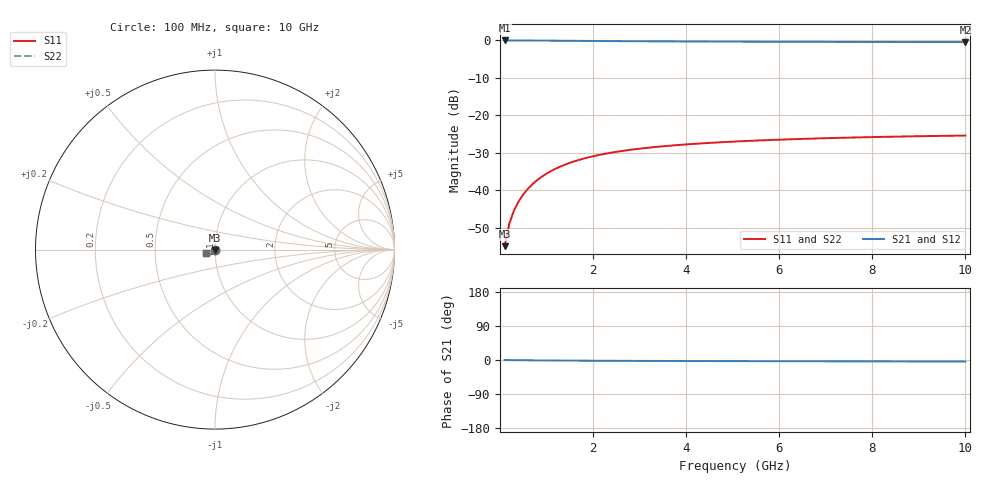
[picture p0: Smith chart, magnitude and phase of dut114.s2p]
! Touchstone file exported from HFSS 2024.1.0
!  File:  C:/UserFiles/LocalFiles/RDL_TSV_Batchsim/temp_TSV1_114_1778752732.aedt
!  Generated:  06:02:56 PM May 14, 2026
!  Design:  TSV1
!  Project:  temp_TSV1_114_1778752732
!  Setup:  Setup1
!  Solution:  Sweep
! Variables:
!  dtsv = 19.65um
!  hbump = 3um
!  htsv = 54.82um
!  lrdl = 252.1521522um
!  p = 40
!  p1 = 57.99um
!  t = 500um
!  trdl = 3um
!  wrdl = 24.89489489um
# GHz S MA R 50.000000
! Terminal data exported
! Port[1] = TSV22_T1
! Port[2] = TSV22_T2
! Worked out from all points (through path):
!   100 points, 100 MHz to 10 GHz, reference 50 ohm
!   highest |S21| = 0.00 dB at 100 MHz (marker M1); lowest = -0.4 dB at 10 GHz (marker M2)
!   lowest |S11| = -55.0 dB at 100 MHz (marker M3), VSWR 1.00, Z = 50 - j0.178 ohm
!   |S11| at or under -10 dB: start of sweep to end of sweep
!   |S22| runs from -55.0 to -25.4 dB; largest |S21 - S12| = 3.8e-15
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0.1  0.001781 -90.1  0.9999 -0.1  0.9999 -0.1  0.001781 -90.1
! Gamma 0 0 0 0
! Port Impedance 50 0 50 0
0.2  0.003552 -93.2  0.9997 -0.3  0.9997 -0.3  0.003552 -93.2
0.3  0.005307 -95.5  0.9993 -0.4  0.9993 -0.4  0.005307 -95.5
0.4  0.007038 -97.7  0.9989 -0.5  0.9989 -0.5  0.007038 -97.7
0.5  0.008739 -99.8  0.9983 -0.7  0.9983 -0.7  0.008739 -99.8
0.6  0.0104 -101.8  0.9976 -0.8  0.9976 -0.8  0.0104 -101.8
0.7  0.01202 -103.8  0.9969 -0.9  0.9969 -0.9  0.01202 -103.8
0.8  0.0136 -105.7  0.996 -1.0  0.996 -1.0  0.0136 -105.7
0.9  0.01512 -107.5  0.9951 -1.1  0.9951 -1.1  0.01512 -107.5
1.1  0.01801 -111.0  0.9932 -1.3  0.9932 -1.3  0.01801 -111.0
1.4  0.02193 -115.8  0.9901 -1.6  0.9901 -1.6  0.02193 -115.8
1.6  0.02426 -118.7  0.9881 -1.7  0.9881 -1.7  0.02426 -118.7
1.8  0.02639 -121.3  0.986 -1.8  0.986 -1.8  0.02639 -121.3
2.1  0.02923 -124.9  0.9831 -2.0  0.9831 -2.0  0.02923 -124.9
2.5  0.03245 -128.9  0.9795 -2.2  0.9795 -2.2  0.03245 -129.0
2.9  0.03516 -132.4  0.9763 -2.3  0.9763 -2.3  0.03516 -132.4
3.4  0.03799 -136.0  0.9727 -2.5  0.9727 -2.5  0.03799 -136.0
4.2  0.0416 -140.5  0.9679 -2.8  0.9679 -2.8  0.0416 -140.5
5.1  0.04473 -144.5  0.9636 -3.0  0.9636 -3.0  0.04473 -144.5
6.7  0.04877 -149.7  0.9579 -3.4  0.9579 -3.4  0.04877 -149.7
8.4  0.05168 -153.7  0.9536 -3.7  0.9536 -3.7  0.05168 -153.7
10  0.05359 -156.5  0.9508 -4.1  0.9508 -4.1  0.05359 -156.5
